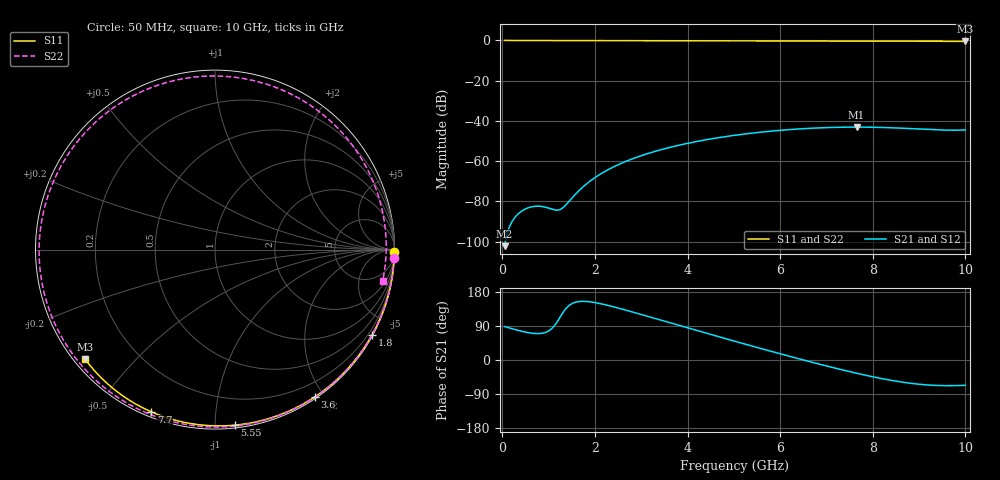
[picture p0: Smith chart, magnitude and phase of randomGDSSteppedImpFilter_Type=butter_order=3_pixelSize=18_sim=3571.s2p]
! freq	dB(S11)	phase(S11)	dB(S12)	phase(S12)
!  dB(S21)	phase(S21)	dB(S22)	phase(S22)
!S-par simulation data
#  GHz  S  DB  R 50
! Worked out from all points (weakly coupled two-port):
!   200 points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, 50 MHz to 10 GHz, reference 50 ohm
!   highest |S21| = -43.09 dB at 7.65 GHz (marker M1); lowest = -102.3 dB at 50 MHz (marker M2)
!   lowest |S11| = -0.5 dB at 10 GHz (marker M3), VSWR 36.60, Z = 1.55 - j18.3 ohm
!   |S11| at or under -10 dB: nowhere
!   |S22| runs from -0.4 to 0.0 dB; largest |S21 - S12| = 0
!   S11 on the Smith chart (normalised r, x): 50 MHz: open; 1.8 GHz: 0.03, -3.91; 3.6 GHz: 0.02, -1.88; 5.55 GHz: 0.02, -1.12; 7.7 GHz: 0.02, -0.68; 10 GHz: 0.03, -0.37
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0.05  -0.00 -0.8  -102.31 88.2  -102.31 88.2  -0.00 -2.8
0.4  -0.01 -6.4  -85.18 76.4  -85.18 76.4  -0.03 -22.4
0.8  -0.02 -12.9  -82.44 69.9  -82.44 69.9  -0.06 -44.0
1.1  -0.02 -17.6  -84.13 86.8  -84.13 86.8  -0.07 -59.5
1.45  -0.03 -23.2  -79.82 144.5  -79.82 144.5  -0.09 -76.5
1.75  -0.04 -27.9  -72.68 154.8  -72.68 154.8  -0.10 -90.2
1.8  -0.04 -28.7  -71.69 154.6  -71.69 154.6  -0.10 -92.4
2.45  -0.05 -38.7  -62.35 138.8  -62.35 138.8  -0.12 -119.1
2.9  -0.06 -45.5  -58.10 123.6  -58.10 123.6  -0.13 -135.7
3.4  -0.07 -53.0  -54.49 106.0  -54.49 106.0  -0.15 -152.9
3.6  -0.08 -56.0  -53.28 99.0  -53.28 99.0  -0.15 -159.4
4.3  -0.09 -66.1  -49.81 74.4  -49.81 74.4  -0.18 178.6
5.05  -0.12 -76.6  -47.07 48.4  -47.07 48.4  -0.21 155.9
5.55  -0.14 -83.5  -45.69 31.5  -45.69 31.5  -0.23 140.9
6.15  -0.16 -91.5  -44.42 11.5  -44.42 11.5  -0.25 122.5
6.7  -0.19 -98.7  -43.63 -6.3  -43.63 -6.3  -0.27 105.3
7.2  -0.22 -105.1  -43.21 -21.8  -43.21 -21.8  -0.29 89.0
7.65  -0.25 -110.8  -43.09 -34.9  -43.09 -34.9  -0.31 74.0
7.7  -0.26 -111.4  -43.09 -36.3  -43.09 -36.3  -0.31 72.2
8.35  -0.31 -119.5  -43.38 -52.6  -43.38 -52.6  -0.33 49.6
9.2  -0.39 -130.0  -44.30 -66.0  -44.30 -66.0  -0.37 18.8
10  -0.47 -139.7  -44.51 -66.8  -44.51 -66.8  -0.44 -10.8
